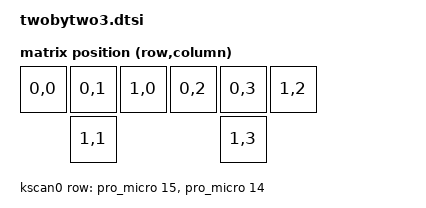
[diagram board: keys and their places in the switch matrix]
#include <dt-bindings/zmk/matrix_transform.h>

#define LAYER_DEFAULT    0
#define LAYER_NAVIGATION 1

/ {
  chosen {
    zmk,kscan = &kscan0;
    zmk,matrix_transform = &default_transform;
  };

  default_transform: keymap_transform_0 {
    compatible = "zmk,matrix-transform";
    columns = <4>;
    rows = <2>;

// +-----+-----+-----+  +-----+-----+-----+
// | MX1 | MX2 | MX3 |  | MX4 | MX5 | Mx6 |
// +-----+-----+-----+  +-----+-----+-----+
// |       MX7       |  |       MX8       |
// +-----------------+  +-----------------+

  map = <
    RC(0,0) RC(0,1) RC(1,0) RC(0,2) RC(0,3) RC(1,2)
            RC(1,1)                 RC(1,3)
    >;
  };

  kscan0: kscan_0 {
    compatible = "zmk,kscan-gpio-matrix";
    label = "KSCAN";
    diode-direction = "row2col";

    row-gpios
      = <&pro_micro 15 GPIO_ACTIVE_HIGH>
      , <&pro_micro 14 GPIO_ACTIVE_HIGH>
      ;
  };
};
